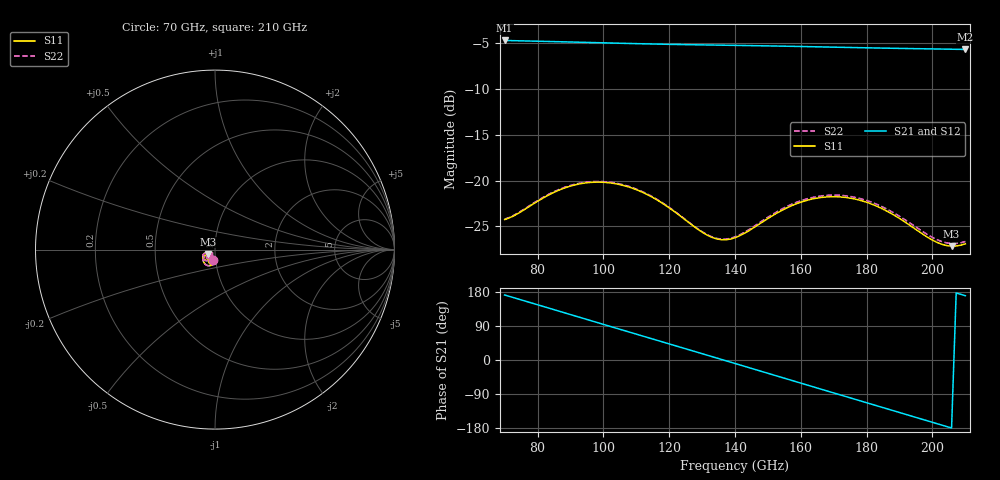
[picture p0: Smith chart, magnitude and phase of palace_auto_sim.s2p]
#  GHZ S DB R 50
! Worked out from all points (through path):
!   101 points, 70 GHz to 210 GHz, reference 50 ohm
!   highest |S21| = -4.69 dB at 70 GHz (marker M1); lowest = -5.7 dB at 210 GHz (marker M2)
!   group delay of S21, straight-line fit = 7.18 ps
!   lowest |S11| = -27.2 dB at 205.8 GHz (marker M3), VSWR 1.09, Z = 46.4 - j2.21 ohm
!   |S11| at or under -10 dB: start of sweep to end of sweep
!   |S22| runs from -26.9 to -20.1 dB; largest |S21 - S12| = 6.7e-14
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70  -24.27 -103.5  -4.69 171.6  -4.69 171.6  -24.22 -102.9
75.6  -23.27 -97.3  -4.74 157.2  -4.74 157.2  -23.20 -96.8
81.2  -22.01 -97.9  -4.78 142.7  -4.78 142.7  -21.94 -97.4
88.2  -20.82 -104.7  -4.84 124.6  -4.84 124.6  -20.74 -104.3
93.8  -20.30 -112.6  -4.89 110.1  -4.89 110.1  -20.23 -112.1
99.4  -20.18 -121.3  -4.94 95.6  -4.94 95.6  -20.11 -120.8
105  -20.44 -130.0  -4.99 81.2  -4.99 81.2  -20.37 -129.5
110.6  -21.08 -138.0  -5.04 66.7  -5.04 66.7  -21.02 -137.5
117.6  -22.40 -145.8  -5.10 48.7  -5.10 48.7  -22.35 -145.2
128.8  -25.35 -146.3  -5.17 19.8  -5.17 19.8  -25.30 -145.4
134.4  -26.38 -138.1  -5.20 5.3  -5.20 5.3  -26.32 -137.0
140  -26.25 -127.8  -5.23 -9.1  -5.23 -9.1  -26.16 -126.5
151.2  -23.88 -121.1  -5.29 -38.2  -5.29 -38.2  -23.74 -119.8
158.2  -22.60 -126.0  -5.34 -56.4  -5.34 -56.4  -22.44 -124.8
163.8  -21.99 -132.4  -5.38 -70.9  -5.38 -70.9  -21.83 -131.1
169.4  -21.77 -139.6  -5.42 -85.4  -5.42 -85.4  -21.59 -138.3
175  -21.92 -146.9  -5.46 -99.9  -5.46 -99.9  -21.74 -145.6
180.6  -22.45 -153.6  -5.50 -114.3  -5.50 -114.3  -22.25 -152.2
187.6  -23.63 -159.8  -5.54 -132.4  -5.54 -132.4  -23.40 -158.4
197.4  -25.94 -159.5  -5.60 -157.7  -5.60 -157.7  -25.66 -158.4
205.8  -27.17 -147.2  -5.65 -179.5  -5.65 -179.5  -26.88 -146.6
210  -26.91 -139.7  -5.67 169.6  -5.67 169.6  -26.66 -139.4
